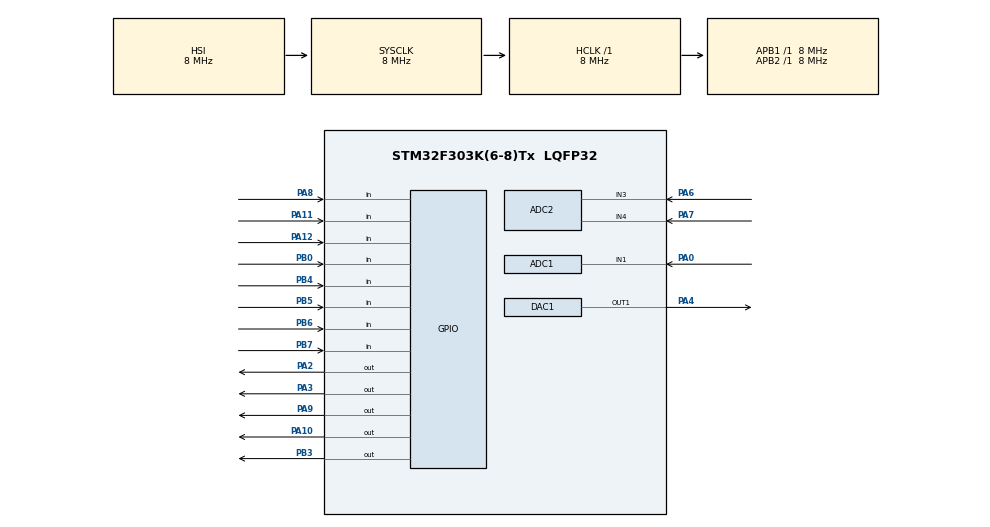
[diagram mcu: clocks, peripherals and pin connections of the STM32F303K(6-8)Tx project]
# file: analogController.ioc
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ADC1.Channel-2\#ChannelRegularConversion=ADC_CHANNEL_1
ADC1.NbrOfConversionFlag=1
ADC1.Offset-2\#ChannelRegularConversion=0
ADC1.OffsetNumber-2\#ChannelRegularConversion=ADC_OFFSET_NONE
ADC1.Rank-2\#ChannelRegularConversion=1
ADC1.SamplingTime-2\#ChannelRegularConversion=ADC_SAMPLETIME_1CYCLE_5
ADC1.master=1
ADC2.Channel-1\#ChannelRegularConversion=ADC_CHANNEL_3
ADC2.NbrOfConversionFlag=1
ADC2.Offset-1\#ChannelRegularConversion=0
ADC2.OffsetNumber-1\#ChannelRegularConversion=ADC_OFFSET_NONE
ADC2.Rank-1\#ChannelRegularConversion=1
ADC2.SamplingTime-1\#ChannelRegularConversion=ADC_SAMPLETIME_1CYCLE_5
ADC2.SingleDiff-1\#ChannelRegularConversion=ADC_DIFFERENTIAL_ENDED
Mcu.Family=STM32F3
Mcu.Name=STM32F303K(6-8)Tx
Mcu.Package=LQFP32
NVIC.PriorityGroup=NVIC_PRIORITYGROUP_4
PA0.Mode=IN1-Single-Ended
PA0.Signal=ADC1_IN1
PA10.Signal=GPIO_Output
PA11.Signal=GPIO_Input
PA12.Signal=GPIO_Input
PA13.Mode=Serial_Wire
PA13.Signal=SYS_JTMS-SWDIO
PA14.Mode=Serial_Wire
PA14.Signal=SYS_JTCK-SWCLK
PA2.Signal=GPIO_Output
PA3.Signal=GPIO_Output
PA4.Signal=COMP_DAC11_group
PA6.Mode=IN3-Differential
PA6.Signal=ADC2_IN3
PA7.Mode=IN3-Differential
PA7.Signal=ADC2_IN4
PA8.Signal=GPIO_Input
PA9.Signal=GPIO_Output
PB0.Signal=GPIO_Input
PB3.GPIO_ModeDefaultOutputPP=GPIO_MODE_OUTPUT_PP
PB3.GPIO_PuPd=GPIO_NOPULL
PB3.GPIO_Speed=GPIO_SPEED_FREQ_LOW
PB3.PinState=GPIO_PIN_RESET
PB3.Signal=GPIO_Output
PB4.Signal=GPIO_Input
PB5.Signal=GPIO_Input
PB6.Signal=GPIO_Input
PB7.Signal=GPIO_Input
PF0\ /\ OSC_IN.Mode=HSE-External-Clock-Source
PF0\ /\ OSC_IN.Signal=RCC_OSC_IN
ProjectManager.HeapSize=0x200
ProjectManager.StackSize=0x400
ProjectManager.TargetToolchain=STM32CubeIDE
RCC.AHBFreq_Value=8000000
RCC.APB1Freq_Value=8000000
RCC.APB2Freq_Value=8000000
RCC.CortexFreq_Value=8000000
RCC.HSE_VALUE=8000000
RCC.HSI_VALUE=8000000
RCC.PLLMUL=RCC_PLL_MUL4
RCC.SYSCLKFreq_VALUE=8000000
SH.COMP_DAC11_group.0=DAC1_OUT1,DAC_OUT1
board=NUCLEO-F303K8

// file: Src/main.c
/* USER CODE BEGIN Header */
/**
  ******************************************************************************
  * @file           : main.c
  * @brief          : Main program body
  ******************************************************************************
  * @attention
  *
  * <h2><center>&copy; Copyright (c) 2019 STMicroelectronics.
  * All rights reserved.</center></h2>
  *
  * This software component is licensed by ST under BSD 3-Clause license,
  * the "License"; You may not use this file except in compliance with the
  * License. You may obtain a copy of the License at:
  *                        opensource.org/licenses/BSD-3-Clause
  *
  ******************************************************************************
  */
/* USER CODE END Header */

#include "main.h"

/* USER CODE BEGIN PD */
#define ANACTRL_SETGPIOOUT0(pinState) HAL_GPIO_WritePin(GPIOA, GPIO_PIN_9, pinState)
#define ANACTRL_SETGPIOOUT1(pinState) HAL_GPIO_WritePin(GPIOA, GPIO_PIN_10, pinState)
#define ANACTRL_SETGPIOOUT2(pinState) HAL_GPIO_WritePin(GPIOA, GPIO_PIN_2, pinState)
#define ANACTRL_SETGPIOOUT3(pinState) HAL_GPIO_WritePin(GPIOA, GPIO_PIN_3, pinState)
#define ANACTRL_SETLD3(pinState) HAL_GPIO_WritePin(GPIOB, GPIO_PIN_3, pinState)

#define ANACTRL_GETGPIOIN0 HAL_GPIO_ReadPin(GPIOA, GPIO_PIN_12)
#define ANACTRL_GETGPIOIN1 HAL_GPIO_ReadPin(GPIOB, GPIO_PIN_0)
#define ANACTRL_GETGPIOIN2 HAL_GPIO_ReadPin(GPIOB, GPIO_PIN_7)
#define ANACTRL_GETGPIOIN3 HAL_GPIO_ReadPin(GPIOB, GPIO_PIN_6)
#define ANACTRL_GETGPIOIN4 HAL_GPIO_ReadPin(GPIOA, GPIO_PIN_8)
#define ANACTRL_GETGPIOIN5 HAL_GPIO_ReadPin(GPIOA, GPIO_PIN_11)
#define ANACTRL_GETGPIOIN6 HAL_GPIO_ReadPin(GPIOB, GPIO_PIN_5)
#define ANACTRL_GETGPIOIN7 HAL_GPIO_ReadPin(GPIOB, GPIO_PIN_4)

//eventually move these to run-time selectable
#define ENABLE_GPIO_PWM_CONTROL
//#define ENABLE_DAC_CONTROL

/* USER CODE END PD */

ADC_HandleTypeDef hadc1;
ADC_HandleTypeDef hadc2;

DAC_HandleTypeDef hdac1;

void SystemClock_Config(void);
static void MX_GPIO_Init(void);
static void MX_ADC1_Init(void);
static void MX_ADC2_Init(void);
static void MX_DAC1_Init(void);

/* USER CODE BEGIN 0 */
uint8_t anaCtrl_readByte(void)
{
	return(ANACTRL_GETGPIOIN7<<7 |
		   ANACTRL_GETGPIOIN6<<6 |
		   ANACTRL_GETGPIOIN5<<5 |
		   ANACTRL_GETGPIOIN4<<4 |
		   ANACTRL_GETGPIOIN3<<3 |
		   ANACTRL_GETGPIOIN2<<2 |
		   ANACTRL_GETGPIOIN1<<1 |
		   ANACTRL_GETGPIOIN0);
}
/* USER CODE END 0 */

int main(void)
{

  /* MCU Configuration--------------------------------------------------------*/

  /* Reset of all peripherals, Initializes the Flash interface and the Systick. */
  HAL_Init();

  /* Configure the system clock */
  SystemClock_Config();

  /* Initialize all configured peripherals */
  MX_GPIO_Init();
  MX_ADC1_Init();
  MX_ADC2_Init();
  MX_DAC1_Init();

  /* USER CODE BEGIN 2 */

  uint8_t tempByte = 0;
  uint16_t pulseAmplitude = 0;
  uint32_t pulseDuration = 0;
  uint8_t loopCounter = 0;
  //application specific output initialization
  ANACTRL_SETLD3(0);
  HAL_DAC_SetValue(&hdac1, DAC_CHANNEL_1, DAC_ALIGN_12B_R, 0x0);
  HAL_DAC_Start(&hdac1, DAC_CHANNEL_1);

  uint32_t onTick;
  uint32_t offTick;
  uint32_t currentTick;
  uint32_t pwmPeriod=0x1f; //32msec
  uint32_t pwmDutyCycle=50;
  HAL_IncTick();

  /* USER CODE END 2 */

  /* Infinite loop */
  /* USER CODE BEGIN WHILE */
  while (1)
  {
	  /* USER CODE BEGIN WHILE */

  	  //read switch bits
	  tempByte = anaCtrl_readByte();

#ifdef ENABLE_DAC_CONTROL
	  //pulse Duration is lower nibble & 10
	  pulseDuration = (tempByte & 0xf) * 10;
	  //pulse Amplitude is upper nibble & 256
	  pulseAmplitude = (tempByte >> 4) << 8;

  	  //light LED bimodal based on loop counter
	  loopCounter&1?ANACTRL_SETLD3(1):ANACTRL_SETLD3(0);

	  //set pulse amplitude
	  HAL_DAC_SetValue(&hdac1, DAC_CHANNEL_1, DAC_ALIGN_12B_R, pulseAmplitude);
	  //pause for pulse duration
	  if(pulseDuration)
		  HAL_Delay(pulseDuration);
	  HAL_DAC_SetValue(&hdac1, DAC_CHANNEL_1, DAC_ALIGN_12B_R, 0x0);

	  //Balance of 1 second as pulse off time
	  HAL_Delay(1000-pulseDuration);
	  loopCounter++;
#endif //ENABLE_DAC_CONTROL

#ifdef ENABLE_GPIO_PWM_CONTROL
	  //reduce resolution from 256 steps (8-bits) to 32 (msec) steps (5-bits)
	  pwmDutyCycle = (tempByte>>3);
	  //adjust for a +1msec error due to use of HAL function calls
	  pwmDutyCycle = (tempByte>>3) - 1;

	  currentTick = HAL_GetTick();
	  if(currentTick>onTick)
	  {
		  //start of current period - turn GPIO on
		  ANACTRL_SETGPIOOUT0(1);
		  //start of next period
		  onTick=currentTick + pwmPeriod;
		  //when to turn GPIO off
		  offTick=currentTick + pwmDutyCycle;
	  }
	  if(currentTick>offTick)
		  //end of pwmDutyCycle turn GPIO off
		  ANACTRL_SETGPIOOUT0(0);

#endif //ENABLE_GPIO_PWM_CONTROL

	  /* USER CODE END WHILE */
  }
  /* USER CODE END 3 */
}

void SystemClock_Config(void)
{
  RCC_OscInitTypeDef RCC_OscInitStruct = {0};
  RCC_ClkInitTypeDef RCC_ClkInitStruct = {0};
  RCC_PeriphCLKInitTypeDef PeriphClkInit = {0};

  /** Initializes the CPU, AHB and APB busses clocks
  */
  RCC_OscInitStruct.OscillatorType = RCC_OSCILLATORTYPE_HSI;
  RCC_OscInitStruct.HSIState = RCC_HSI_ON;
  RCC_OscInitStruct.HSICalibrationValue = RCC_HSICALIBRATION_DEFAULT;
  RCC_OscInitStruct.PLL.PLLState = RCC_PLL_ON;
  RCC_OscInitStruct.PLL.PLLSource = RCC_PLLSOURCE_HSI;
  RCC_OscInitStruct.PLL.PLLMUL = RCC_PLL_MUL4;
  if (HAL_RCC_OscConfig(&RCC_OscInitStruct) != HAL_OK)
  {
    Error_Handler();
  }
  /** Initializes the CPU, AHB and APB busses clocks
  */
  RCC_ClkInitStruct.ClockType = RCC_CLOCKTYPE_HCLK|RCC_CLOCKTYPE_SYSCLK
                              |RCC_CLOCKTYPE_PCLK1|RCC_CLOCKTYPE_PCLK2;
  RCC_ClkInitStruct.SYSCLKSource = RCC_SYSCLKSOURCE_HSI;
  RCC_ClkInitStruct.AHBCLKDivider = RCC_SYSCLK_DIV1;
  RCC_ClkInitStruct.APB1CLKDivider = RCC_HCLK_DIV1;
  RCC_ClkInitStruct.APB2CLKDivider = RCC_HCLK_DIV1;

  if (HAL_RCC_ClockConfig(&RCC_ClkInitStruct, FLASH_LATENCY_0) != HAL_OK)
  {
    Error_Handler();
  }
  PeriphClkInit.PeriphClockSelection = RCC_PERIPHCLK_ADC12;
  PeriphClkInit.Adc12ClockSelection = RCC_ADC12PLLCLK_DIV1;
  if (HAL_RCCEx_PeriphCLKConfig(&PeriphClkInit) != HAL_OK)
  {
    Error_Handler();
  }
}

static void MX_ADC1_Init(void)
{

  ADC_MultiModeTypeDef multimode = {0};
  ADC_ChannelConfTypeDef sConfig = {0};

  /** Common config
  */
  hadc1.Instance = ADC1;
  hadc1.Init.ClockPrescaler = ADC_CLOCK_ASYNC_DIV1;
  hadc1.Init.Resolution = ADC_RESOLUTION_12B;
  hadc1.Init.ScanConvMode = ADC_SCAN_DISABLE;
  hadc1.Init.ContinuousConvMode = DISABLE;
  hadc1.Init.DiscontinuousConvMode = DISABLE;
  hadc1.Init.ExternalTrigConvEdge = ADC_EXTERNALTRIGCONVEDGE_NONE;
  hadc1.Init.ExternalTrigConv = ADC_SOFTWARE_START;
  hadc1.Init.DataAlign = ADC_DATAALIGN_RIGHT;
  hadc1.Init.NbrOfConversion = 1;
  hadc1.Init.DMAContinuousRequests = DISABLE;
  hadc1.Init.EOCSelection = ADC_EOC_SINGLE_CONV;
  hadc1.Init.LowPowerAutoWait = DISABLE;
  hadc1.Init.Overrun = ADC_OVR_DATA_OVERWRITTEN;
  if (HAL_ADC_Init(&hadc1) != HAL_OK)
  {
    Error_Handler();
  }
  /** Configure the ADC multi-mode
  */
  multimode.Mode = ADC_MODE_INDEPENDENT;
  if (HAL_ADCEx_MultiModeConfigChannel(&hadc1, &multimode) != HAL_OK)
  {
    Error_Handler();
  }
  /** Configure Regular Channel
  */
  sConfig.Channel = ADC_CHANNEL_1;
  sConfig.Rank = ADC_REGULAR_RANK_1;
  sConfig.SingleDiff = ADC_SINGLE_ENDED;
  sConfig.SamplingTime = ADC_SAMPLETIME_1CYCLE_5;
  sConfig.OffsetNumber = ADC_OFFSET_NONE;
  sConfig.Offset = 0;
  if (HAL_ADC_ConfigChannel(&hadc1, &sConfig) != HAL_OK)
  {
    Error_Handler();
  }

}

static void MX_ADC2_Init(void)
{

  ADC_ChannelConfTypeDef sConfig = {0};

  /** Common config
  */
  hadc2.Instance = ADC2;
  hadc2.Init.ClockPrescaler = ADC_CLOCK_ASYNC_DIV1;
  hadc2.Init.Resolution = ADC_RESOLUTION_12B;
  hadc2.Init.ScanConvMode = ADC_SCAN_DISABLE;
  hadc2.Init.ContinuousConvMode = DISABLE;
  hadc2.Init.DiscontinuousConvMode = DISABLE;
  hadc2.Init.ExternalTrigConvEdge = ADC_EXTERNALTRIGCONVEDGE_NONE;
  hadc2.Init.ExternalTrigConv = ADC_SOFTWARE_START;
  hadc2.Init.DataAlign = ADC_DATAALIGN_RIGHT;
  hadc2.Init.NbrOfConversion = 1;
  hadc2.Init.DMAContinuousRequests = DISABLE;
  hadc2.Init.EOCSelection = ADC_EOC_SINGLE_CONV;
  hadc2.Init.LowPowerAutoWait = DISABLE;
  hadc2.Init.Overrun = ADC_OVR_DATA_OVERWRITTEN;
  if (HAL_ADC_Init(&hadc2) != HAL_OK)
  {
    Error_Handler();
  }
  /** Configure Regular Channel
  */
  sConfig.Channel = ADC_CHANNEL_3;
  sConfig.Rank = ADC_REGULAR_RANK_1;
  sConfig.SingleDiff = ADC_DIFFERENTIAL_ENDED;
  sConfig.SamplingTime = ADC_SAMPLETIME_1CYCLE_5;
  sConfig.OffsetNumber = ADC_OFFSET_NONE;
  sConfig.Offset = 0;
  if (HAL_ADC_ConfigChannel(&hadc2, &sConfig) != HAL_OK)
  {
    Error_Handler();
  }

}

static void MX_DAC1_Init(void)
{

  DAC_ChannelConfTypeDef sConfig = {0};

  /** DAC Initialization
  */
  hdac1.Instance = DAC1;
  if (HAL_DAC_Init(&hdac1) != HAL_OK)
  {
    Error_Handler();
  }
  /** DAC channel OUT1 config
  */
  sConfig.DAC_Trigger = DAC_TRIGGER_NONE;
  sConfig.DAC_OutputBuffer = DAC_OUTPUTBUFFER_ENABLE;
  if (HAL_DAC_ConfigChannel(&hdac1, &sConfig, DAC_CHANNEL_1) != HAL_OK)
  {
    Error_Handler();
  }

}

static void MX_GPIO_Init(void)
{
  GPIO_InitTypeDef GPIO_InitStruct = {0};

  /* GPIO Ports Clock Enable */
  __HAL_RCC_GPIOF_CLK_ENABLE();
  __HAL_RCC_GPIOA_CLK_ENABLE();
  __HAL_RCC_GPIOB_CLK_ENABLE();

  /*Configure GPIO pin Output Level */
  HAL_GPIO_WritePin(GPIOA, GPIO_PIN_2|GPIO_PIN_3|GPIO_PIN_9|GPIO_PIN_10, GPIO_PIN_RESET);

  /*Configure GPIO pin Output Level */
  HAL_GPIO_WritePin(GPIOB, GPIO_PIN_3, GPIO_PIN_RESET);

  /*Configure GPIO pins : PA2 PA3 PA9 PA10 */
  GPIO_InitStruct.Pin = GPIO_PIN_2|GPIO_PIN_3|GPIO_PIN_9|GPIO_PIN_10;
  GPIO_InitStruct.Mode = GPIO_MODE_OUTPUT_PP;
  GPIO_InitStruct.Pull = GPIO_NOPULL;
  GPIO_InitStruct.Speed = GPIO_SPEED_FREQ_LOW;
  HAL_GPIO_Init(GPIOA, &GPIO_InitStruct);

  /*Configure GPIO pins : PB0 PB4 PB5 PB6 PB7 */
  GPIO_InitStruct.Pin = GPIO_PIN_0|GPIO_PIN_4|GPIO_PIN_5|GPIO_PIN_6|GPIO_PIN_7;
  GPIO_InitStruct.Mode = GPIO_MODE_INPUT;
  GPIO_InitStruct.Pull = GPIO_PULLUP;
  HAL_GPIO_Init(GPIOB, &GPIO_InitStruct);

  /*Configure GPIO pins : PA8 PA11 PA12 */
  GPIO_InitStruct.Pin = GPIO_PIN_8|GPIO_PIN_11|GPIO_PIN_12;
  GPIO_InitStruct.Mode = GPIO_MODE_INPUT;
  GPIO_InitStruct.Pull = GPIO_PULLUP;
  HAL_GPIO_Init(GPIOA, &GPIO_InitStruct);

  /*Configure GPIO pin : PB3 */
  GPIO_InitStruct.Pin = GPIO_PIN_3;
  GPIO_InitStruct.Mode = GPIO_MODE_OUTPUT_PP;
  GPIO_InitStruct.Pull = GPIO_NOPULL;
  GPIO_InitStruct.Speed = GPIO_SPEED_FREQ_LOW;
  HAL_GPIO_Init(GPIOB, &GPIO_InitStruct);

}

void Error_Handler(void)
{
}

/************************ (C) COPYRIGHT STMicroelectronics *****END OF FILE****/
